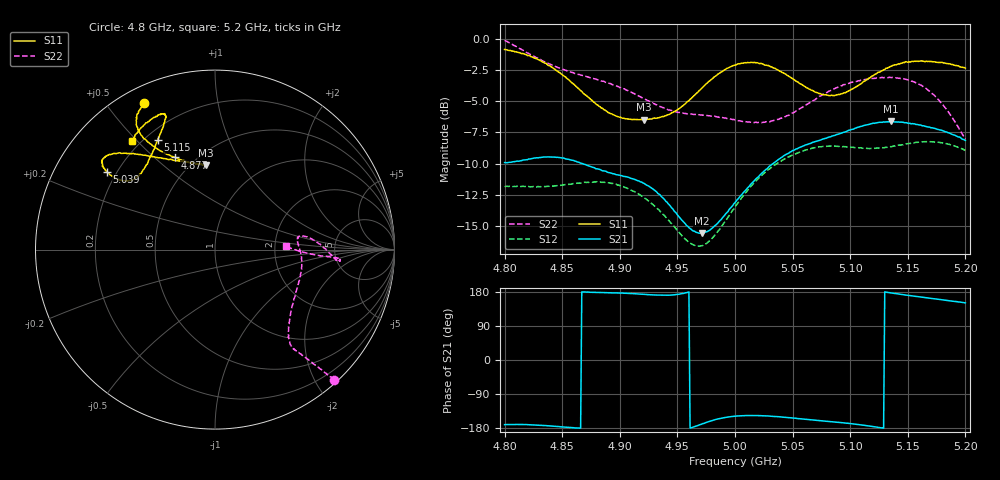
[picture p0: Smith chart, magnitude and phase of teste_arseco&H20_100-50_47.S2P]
! Network Analyzer HP8722D
! Hewlett-Packard
! Data name: Linha & Wilkinson
! Saver's name: Rodrigo Anjos
! Comments: Teste da utilização de aquisição
! continua pelo VNA HP8722D
! Time and date: 6/5/2025 12:57
!  Frequency  S11  S21  S12  S22
# HZ  S  MA R 50
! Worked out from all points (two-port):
!   401 points, 4.8 GHz to 5.2 GHz, reference 50 ohm
!   highest |S21| = -6.61 dB at 5.135 GHz (marker M1); lowest = -15.6 dB at 4.971 GHz (marker M2)
!   |S21| within 3 dB of the highest: 4.823 GHz to 4.853 GHz (30.07 MHz wide, 0.622 % of centre); 5.039 GHz to end of sweep
!   lowest |S11| = -6.5 dB at 4.921 GHz (marker M3), VSWR 2.80, Z = 29.2 + j35.5 ohm
!   |S11| at or under -10 dB: nowhere
!   |S22| runs from -8.0 to -0.1 dB; largest |S21 - S12| = 0.83
!   S11 on the Smith chart (normalised r, x): 4.8 GHz: 0.07, +0.62; 4.877 GHz: 0.39, +0.58; 5.039 GHz: 0.16, +0.31; 5.115 GHz: 0.25, +0.58; 5.2 GHz: 0.17, +0.48
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4.8e9  0.905 115.8  0.3195 -170.6  0.2568 -85.8  0.9834 -47.5
4.819e9  0.8622 120.4  0.3281 -170.5  0.2554 -81.7  0.8805 -48.7
4.834e9  0.8032 122.4  0.3363 -172.6  0.2561 -76.7  0.8102 -49.6
4.847e9  0.7339 122.6  0.3348 -175.7  0.2588 -72.5  0.7644 -50.5
4.867e9  0.6151 118.0  0.3172 179.7  0.2647 -67.2  0.7141 -51.4
4.877e9  0.5593 113.4  0.3052 178.5  0.267 -66.1  0.6928 -51.8
4.9e9  0.4848 101.2  0.2845 176.6  0.2584 -66.4  0.6369 -50.1
4.921e9  0.474 96.2  0.2638 173.2  0.2315 -68.7  0.5759 -43.8
4.934e9  0.4829 99.2  0.2389 171.2  0.2068 -69.2  0.5372 -37.4
4.959e9  0.5612 116.3  0.1777 178.6  0.1547 -58.6  0.5 -20.9
4.971e9  0.633 124.7  0.1666 -169.4  0.1485 -45.0  0.4957 -13.8
5e9  0.7836 137.3  0.2208 -148.3  0.2127 -21.3  0.4728 -0.2
5.018e9  0.801 141.8  0.2744 -146.5  0.2695 -18.1  0.4636 5.9
5.039e9  0.7401 144.2  0.3315 -150.1  0.3217 -18.2  0.4794 9.1
5.067e9  0.6211 141.9  0.3843 -158.1  0.3649 -20.5  0.5629 4.8
5.088e9  0.5955 132.9  0.4133 -164.0  0.371 -23.6  0.636 -1.7
5.115e9  0.6873 117.5  0.4528 -173.6  0.3638 -26.6  0.6898 -5.2
5.134e9  0.7696 111.3  0.4643 177.8  0.3685 -28.6  0.7004 -4.7
5.135e9  0.7738 111.2  0.467 177.3  0.37 -28.6  0.6996 -4.6
5.162e9  0.8147 113.0  0.4494 165.8  0.3866 -35.3  0.6499 -3.7
5.179e9  0.8042 118.6  0.4307 159.0  0.3835 -40.6  0.5526 -2.9
5.2e9  0.7619 127.4  0.3915 150.7  0.3581 -46.2  0.3962 2.5
